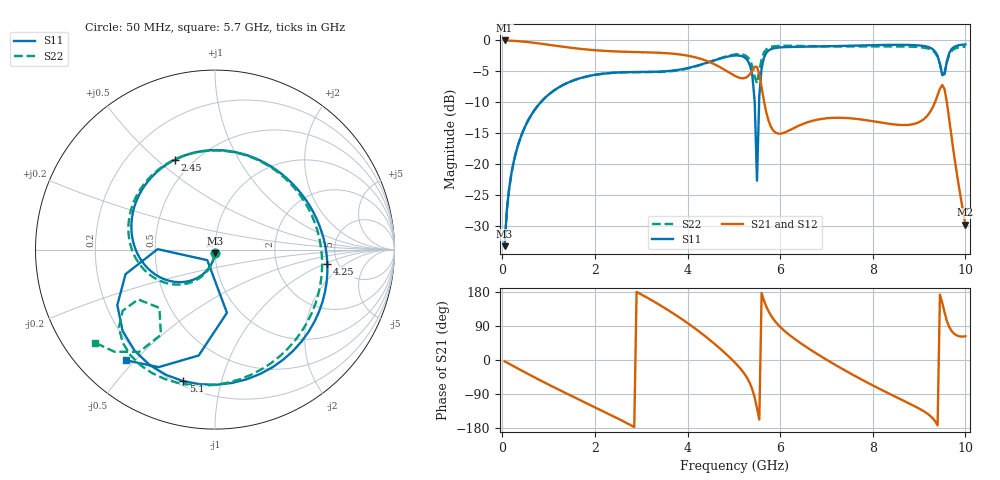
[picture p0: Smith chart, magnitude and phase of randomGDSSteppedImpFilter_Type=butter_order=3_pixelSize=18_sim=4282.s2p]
! freq	dB(S11)	phase(S11)	dB(S12)	phase(S12)
!  dB(S21)	phase(S21)	dB(S22)	phase(S22)
!S-par simulation data
#  GHz  S  DB  R 50
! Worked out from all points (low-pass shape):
!   200 points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, 50 MHz to 10 GHz, reference 50 ohm
!   highest |S21| = -0.01 dB at 50 MHz (marker M1); lowest = -29.9 dB at 10 GHz (marker M2)
!   |S21| within 3 dB of the highest: start of sweep to 4.293 GHz
!   lowest |S11| = -33.3 dB at 50 MHz (marker M3), VSWR 1.04, Z = 49.8 - j2.14 ohm
!   |S11| at or under -10 dB: start of sweep to 833.8 MHz; 5.45 GHz to 5.546 GHz (95.71 MHz wide, 1.74 % of centre)
!   |S22| runs from -33.3 to -0.9 dB; largest |S21 - S12| = 0
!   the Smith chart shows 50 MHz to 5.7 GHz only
!   S11 on the Smith chart (normalised r, x): 50 MHz: 1.00, -0.04; 2.45 GHz: 0.40, +0.57; 4.25 GHz: 4.12, -1.08; 5.1 GHz: 0.22, -0.76; 5.7 GHz: 0.14, -0.47
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0.05  -33.35 -93.2  -0.01 -3.4  -0.01 -3.4  -33.35 -92.9
0.2  -21.44 -104.3  -0.05 -13.5  -0.05 -13.5  -21.43 -103.2
0.5  -13.84 -125.1  -0.23 -33.2  -0.23 -33.2  -13.84 -122.3
1.75  -5.98 155.6  -1.42 -109.8  -1.42 -109.8  -5.98 163.7
2.45  -5.22 113.9  -1.79 -151.6  -1.79 -151.6  -5.23 122.0
3.4  -5.06 55.6  -2.01 145.1  -2.01 145.1  -5.12 54.3
4.25  -4.00 -7.2  -2.91 75.2  -2.91 75.2  -4.05 -23.4
5.05  -2.44 -96.3  -5.84 -10.2  -5.84 -10.2  -2.26 -105.8
5.1  -2.45 -103.5  -6.00 -16.8  -6.00 -16.8  -2.23 -111.3
5.4  -5.73 -164.6  -4.86 -78.1  -4.86 -78.1  -4.20 -146.5
5.45  -9.90 179.6  -4.29 -99.4  -4.29 -99.4  -5.85 -147.1
5.5  -22.75 -126.3  -4.29 -127.2  -4.29 -127.2  -6.96 -133.6
5.55  -8.92 -79.3  -5.49 -157.3  -5.49 -157.3  -5.00 -122.4
5.7  -2.02 -128.9  -11.65 141.2  -11.65 141.2  -1.46 -142.2
6.05  -1.11 175.0  -15.04 81.5  -15.04 81.5  -0.87 -179.8
6.7  -1.00 108.8  -13.02 23.5  -13.02 23.5  -0.94 128.5
7.45  -0.87 52.9  -12.59 -30.9  -12.59 -30.9  -0.98 72.9
8.35  -0.72 2.6  -13.51 -88.7  -13.51 -88.7  -0.96 7.7
9.2  -1.08 -38.9  -12.00 -143.4  -12.00 -143.4  -1.34 -51.4
9.5  -5.64 -48.3  -7.24 151.2  -7.24 151.2  -5.36 -66.8
9.65  -2.08 -28.5  -12.78 87.3  -12.78 87.3  -2.34 -52.4
10  -0.66 -51.3  -29.89 62.8  -29.89 62.8  -1.03 -80.1
